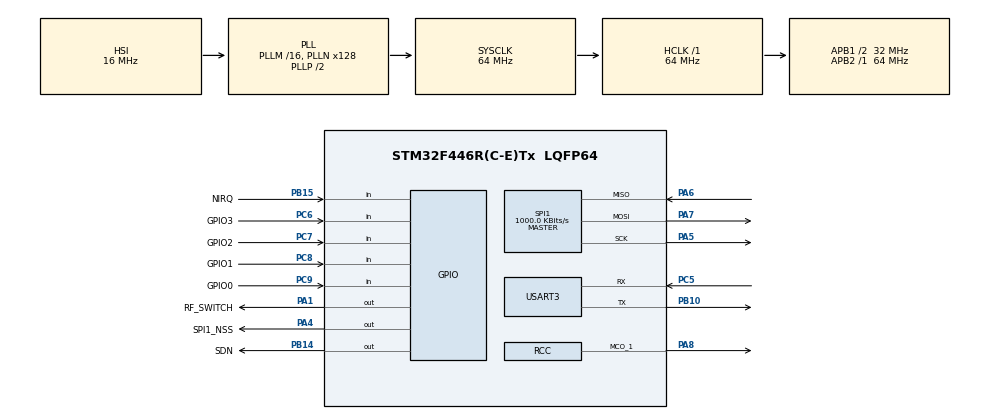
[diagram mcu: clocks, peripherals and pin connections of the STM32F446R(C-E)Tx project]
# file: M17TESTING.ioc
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Mcu.Family=STM32F4
Mcu.Name=STM32F446R(C-E)Tx
Mcu.Package=LQFP64
NVIC.PriorityGroup=NVIC_PRIORITYGROUP_4
NVIC.SPI1_IRQn=true\:0\:0\:false\:false\:true\:true\:true\:true
NVIC.USART3_IRQn=true\:0\:0\:false\:false\:true\:true\:true\:true
PA1.GPIO_Label=RF_SWITCH
PA1.Signal=GPIO_Output
PA13.Mode=Serial_Wire
PA13.Signal=SYS_JTMS-SWDIO
PA14.Mode=Serial_Wire
PA14.Signal=SYS_JTCK-SWCLK
PA4.GPIO_Label=SPI1_NSS
PA4.GPIO_Speed=GPIO_SPEED_FREQ_VERY_HIGH
PA4.PinState=GPIO_PIN_SET
PA4.Signal=GPIO_Output
PA5.Mode=Full_Duplex_Master
PA5.Signal=SPI1_SCK
PA6.Mode=Full_Duplex_Master
PA6.Signal=SPI1_MISO
PA7.Mode=Full_Duplex_Master
PA7.Signal=SPI1_MOSI
PA8.Mode=Clock-out-1
PA8.Signal=RCC_MCO_1
PB10.Mode=Asynchronous
PB10.Signal=USART3_TX
PB14.GPIO_Label=SDN
PB14.Signal=GPIO_Output
PB15.GPIO_Label=NIRQ
PB15.Signal=GPIO_Input
PC14-OSC32_IN.Mode=LSE-External-Oscillator
PC14-OSC32_IN.Signal=RCC_OSC32_IN
PC15-OSC32_OUT.Mode=LSE-External-Oscillator
PC15-OSC32_OUT.Signal=RCC_OSC32_OUT
PC5.Mode=Asynchronous
PC5.Signal=USART3_RX
PC6.GPIO_Label=GPIO3
PC6.Signal=GPIO_Input
PC7.GPIO_Label=GPIO2
PC7.Signal=GPIO_Input
PC8.GPIO_Label=GPIO1
PC8.Signal=GPIO_Input
PC9.GPIO_Label=GPIO0
PC9.Signal=GPIO_Input
PH0-OSC_IN.Mode=HSE-External-Oscillator
PH0-OSC_IN.Signal=RCC_OSC_IN
PH1-OSC_OUT.Mode=HSE-External-Oscillator
PH1-OSC_OUT.Signal=RCC_OSC_OUT
ProjectManager.HeapSize=0x200
ProjectManager.StackSize=0x400
ProjectManager.TargetToolchain=STM32CubeIDE
RCC.AHBFreq_Value=64000000
RCC.APB1CLKDivider=RCC_HCLK_DIV2
RCC.APB1Freq_Value=32000000
RCC.APB1TimFreq_Value=64000000
RCC.APB2Freq_Value=64000000
RCC.APB2TimFreq_Value=64000000
RCC.CortexFreq_Value=64000000
RCC.HCLKFreq_Value=64000000
RCC.PLLN=128
RCC.SYSCLKFreq_VALUE=64000000
RCC.SYSCLKSource=RCC_SYSCLKSOURCE_PLLCLK
RCC.USBFreq_Value=64000000
RCC.VCOOutputFreq_Value=128000000
SPI1.BaudRatePrescaler=SPI_BAUDRATEPRESCALER_64
SPI1.CalculateBaudRate=1000.0 KBits/s
SPI1.Direction=SPI_DIRECTION_2LINES
SPI1.Mode=SPI_MODE_MASTER
SPI1.VirtualType=VM_MASTER
USART3.VirtualMode=VM_ASYNC
board=custom

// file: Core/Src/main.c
/* USER CODE BEGIN Header */
/**
 ******************************************************************************
 * @file           : main.c
 * @brief          : SI4463 Packet Beacon over UART3 — CORRECTED
 *
 * Pin mapping (from main.h):
 *   SPI1 SCK  → PA5   (CubeMX default SPI1)
 *   SPI1 MISO → PA6
 *   SPI1 MOSI → PA7
 *   SI_NSS    → PA4   (software CS, defined in main.h)
 *   RF_SWITCH → PA1   (output; HIGH = TX mode, LOW = RX/idle)
 *   SDN       → PB14  (SDN_Pin / SDN_GPIO_Port)
 *   NIRQ      → PB15  (NIRQ_Pin / NIRQ_GPIO_Port) — input, falling edge
 *   UART3 TX  → PB10  (115200 8N1)
 *
 * NOTE: radio_config.h (RADIO_CONFIGURATION_DATA_ARRAY) is left untouched.
 * That config sets RADIO_STATE_AFTER_POWER_UP so the SI4463 comes up in
 * READY after SI4463_Init() loads the array. This firmware builds and
 * transmits the "Hello HAMS" packet on its own via APP_TransmitPacket().
 *
 * Per RF_FRR_CTL_A_MODE_4 in radio_config.h, the FRR slots are mapped:
 *   FRR_A (property 0x03) → PH_PEND    (Packet Handler Interrupt Pending)
 *   FRR_B (property 0x07) → CHIP_PEND  (Chip Interrupt Pending)
 *   FRR_C (property 0x0A) → LATCHED_RSSI
 *   FRR_D (property 0x00) → DISABLED (reads back 0x00, ignore)
 *
 * ----------------------------------------------------------------------
 * FIX HISTORY
 *
 * 1) RF_SWITCH was never driven HIGH before transmission in the earlier
 *    continuous-TX revision of this firmware — it was set LOW once in
 *    MX_GPIO_Init() and never touched again, so the external antenna
 *    switch stayed parked on the RX/idle leg for the whole run even
 *    though the SI4463 itself was correctly entering TX. Fixed by
 *    driving RF_SWITCH HIGH in APP_StartTX() before START_TX is issued,
 *    and back LOW on completion / error / timeout, in every exit path
 *    of APP_WaitPacketSent() and APP_TransmitPacket().
 *
 * 2) APP_WaitPacketSent() was reading the wrong bytes out of the
 *    GET_INT_STATUS (0x20) response. Per AN633 Table 4 / the Si4463 API,
 *    the actual response layout is:
 *
 *      response[0] = INT_PEND
 *      response[1] = INT_STATUS
 *      response[2] = PH_PEND      <- PACKET_SENT is bit 5 here
 *      response[3] = PH_STATUS
 *      response[4] = MODEM_PEND
 *      response[5] = MODEM_STATUS
 *      response[6] = CHIP_PEND    <- CMD_ERROR is bit 3 here
 *      response[7] = CHIP_STATUS
 *
 *    The earlier code checked response[0] for PACKET_SENT (wrong
 *    register) and treated response[6] as a fabricated "CMD_ERR_STATUS"
 *    field that doesn't exist in this response (it only exists in the
 *    response to GET_CHIP_STATUS, command 0x23). CHIP_PEND bit 4
 *    (STATE_CHANGE) fires on essentially every TX-complete transition,
 *    so the old code aborted the wait loop on a false "radio error" and
 *    then timed out waiting on a PACKET_SENT bit that was never going
 *    to be set in that byte.
 *
 * 3) Command ordering in APP_StartTX() reordered to match AN633
 *    Figure 15 (SPI Communications Example): FIFO_INFO reset → clear
 *    all pending interrupts → WRITE_TX_FIFO → START_TX. Functionally
 *    equivalent to the previous order, kept for direct traceability
 *    against the app note's captured reference transaction.
 *
 * 4) The AN633 §10.1-style carrier-hold diagnostic (forces txState
 *    directly via CHANGE_STATE, bypassing the packet handler, so a
 *    multimeter/SDR has an easy continuous window to catch the
 *    carrier) is now gated behind APP_RUN_CARRIER_HOLD_TEST so it only
 *    runs when you explicitly want it, instead of on every power-up.
 * ----------------------------------------------------------------------
 ******************************************************************************
 */
/* USER CODE END Header */

#include "main.h"

/* USER CODE BEGIN Includes */
#include "si4463.h"
#include "radio_config.h"
#include <stdio.h>
#include <string.h>
#include <stdarg.h>
#include <stdbool.h>
/* USER CODE END Includes */

/* USER CODE BEGIN PTD */
/*
 * Dummy satellite-health telemetry frame. Packed, fixed layout, sent as
 * raw bytes over the SI4463 in place of a plain ASCII payload. All
 * field values are simulated (see APP_BuildDummyTelemetry()) -- this is
 * a placeholder structure/format for exercising the RF link with a
 * realistic-looking beacon frame, not real sensor data.
 *
 * Size is fixed at compile time (sizeof(SatTelemetry_t), currently 26
 * bytes) and must stay <= SI4463_MAX_TX_FIFO_LEN (64 bytes, si4463.h).
 */
typedef struct __attribute__((packed))
{
    char     callsign[8];       /* Station ID, NUL-padded (e.g. "VU3LTQ") */
    uint32_t uptimeSeconds;     /* Seconds since MCU boot */
    uint16_t batteryVoltage_mV; /* Battery bus voltage, millivolts */
    int16_t  batteryCurrent_mA; /* Battery current, mA (+ = charging) */
    int16_t  temperature_dC;    /* Onboard temperature, deci-degC (235 = 23.5C) */
    uint16_t solarVoltage_mV;   /* Solar panel bus voltage, millivolts */
    uint8_t  operatingMode;     /* 0=SAFE 1=NOMINAL 2=SCIENCE 3=LOW_POWER */
    uint8_t  statusFlags;       /* bit0=deployed bit1=sunSide bit2=lowBatt bit3=wdtReset */
    uint16_t telemetryCounter;  /* Rolling telemetry frame counter */
    uint8_t  resetCount;        /* MCU reset count since deployment (dummy) */
    uint8_t  checksum;          /* 8-bit additive checksum over all preceding bytes */
} SatTelemetry_t;
/* USER CODE END PTD */

/* USER CODE BEGIN PD */
/* Set to 1 to run the 5-second carrier-hold diagnostic once at boot
 * (AN633 Section 10.1 equivalent). Leave at 0 for normal beacon
 * operation once the RF path has been confirmed with a meter/SDR. */
#define APP_RUN_CARRIER_HOLD_TEST   0
/* USER CODE END PD */

SPI_HandleTypeDef hspi1;
UART_HandleTypeDef huart3;

/* USER CODE BEGIN PV */
/*
 * SI4463 command constants.
 *
 * Do NOT redefine commands that already exist in si4463.h.
 */
#define APP_CMD_READ_CMD_BUFF       0x44u
#define APP_CMD_FIFO_INFO           0x15u
#define APP_CMD_GET_INT_STATUS      0x20u
#define APP_CMD_WRITE_TX_FIFO       0x66u
#define APP_CMD_START_TX            0x31u

/* FIFO_INFO argument. Bit1 = TX FIFO reset, Bit0 = RX FIFO reset
 * (Si4463 API command encoding). */
#define APP_FIFO_CLEAR_TX           0x02u

/* START_TX CONDITION byte: TXCOMPLETE_STATE occupies bits [6:4] and is
 * encoded as (next_state_enum_value << 4). Using the same state values
 * as si4463_state_t (readyState = 3) so the radio returns cleanly to
 * READY once the packet is out, rather than leaving the next-state
 * field at 0 ("no change" / undefined for this transition). */
#define APP_START_TX_STATE_READY    (0x03u << 4)   /* -> 0x30 */

/* PH_PEND bit 5 = PACKET_SENT */
#define APP_PH_PEND_PACKET_SENT     0x20u
/* CHIP_PEND bit 3 = CMD_ERROR */
#define APP_CHIP_PEND_CMD_ERROR     0x08u

#define TX_PAYLOAD                  "Hello HAMS, this is VU3LTQ operating from KJSIT! 73!!"
#define TX_PAYLOAD_LEN               ((uint8_t)(sizeof(TX_PAYLOAD) - 1u))
#define TX_INTERVAL_MS               5000u
#define TX_TIMEOUT_MS                1000u

/* Dummy satellite operating modes for SatTelemetry_t.operatingMode. */
#define APP_SAT_MODE_SAFE           0u
#define APP_SAT_MODE_NOMINAL        1u
#define APP_SAT_MODE_SCIENCE        2u
#define APP_SAT_MODE_LOW_POWER      3u

/* Dummy satellite status bits for SatTelemetry_t.statusFlags. */
#define APP_SAT_FLAG_DEPLOYED       (1u << 0)
#define APP_SAT_FLAG_SUN_SIDE       (1u << 1)
#define APP_SAT_FLAG_LOW_BATTERY    (1u << 2)
#define APP_SAT_FLAG_WDT_RESET      (1u << 3)

_Static_assert(sizeof(SatTelemetry_t) <= SI4463_MAX_TX_FIFO_LEN,
               "SatTelemetry_t must fit in the 64-byte SI4463 TX FIFO");

static uint32_t packetCounter = 0u;
static char uartBuffer[256];

si4463_t si4463;
/* USER CODE END PV */

void SystemClock_Config(void);
static void MX_GPIO_Init(void);
static void MX_SPI1_Init(void);
static void MX_USART3_UART_Init(void);

/* USER CODE BEGIN PFP */
/* UART */
static void UART_Print(const char *fmt, ...);

/* SPI / SI4463 hardware interface */
static uint8_t APP_IsCTS(void);
static void APP_WriteRead(const uint8_t *pTxData, uint8_t *pRxData, uint16_t size);
static void APP_Select(void);
static void APP_Deselect(void);
static void APP_SetShutdown(void);
static void APP_ClearShutdown(void);

/* SI4463 application-level functions */
static bool APP_SendCommand(const uint8_t *cmd, uint8_t cmdLen);
static bool APP_SendCommandResponse(const uint8_t *cmd, uint8_t cmdLen,
                                     uint8_t *response, uint8_t responseLen);
static bool APP_ClearInterrupts(void);
static bool APP_FlushTXFIFO(void);
static bool APP_WriteTXFIFO(const uint8_t *data, uint8_t length);
static bool APP_StartTX(const uint8_t *data, uint8_t length);
static bool APP_WaitPacketSent(uint32_t timeoutMs);
static bool APP_TransmitPacket(const uint8_t *data, uint8_t length);

/* Dummy satellite-health telemetry */
static uint8_t APP_ComputeChecksum(const uint8_t *data, uint8_t length);
static void APP_BuildDummyTelemetry(SatTelemetry_t *tlm, uint32_t seqNum);
static void APP_PrintTelemetry(const SatTelemetry_t *tlm);
#if APP_RUN_CARRIER_HOLD_TEST
static void APP_CarrierHoldTest(uint32_t holdMs);
static void APP_RxCurrentTest(uint32_t holdMs);
static void APP_RealTxBurstTest(uint32_t durationMs);
#endif

/* Diagnostics: confirm the chip is genuinely a Si4463 and that the PA
 * properties actually landed in the radio's property RAM as configured
 * by radio_config.h, rather than being silently rejected/reset. */
static bool APP_ReadPartInfo(void);
static bool APP_ReadPAProperties(void);
static bool APP_ReadModemModType(void);
static bool APP_ReadFreqControl(void);
/* USER CODE END PFP */

/* ========================================================================== */
/* UART                                                                       */
/* ========================================================================== */
static void UART_Print(const char *fmt, ...)
{
    va_list args;
    va_start(args, fmt);
    int length = vsnprintf(uartBuffer, sizeof(uartBuffer), fmt, args);
    va_end(args);

    if (length <= 0)
    {
        return;
    }
    if (length >= (int)sizeof(uartBuffer))
    {
        length = (int)sizeof(uartBuffer) - 1;
    }

    HAL_UART_Transmit(&huart3, (uint8_t *)uartBuffer, (uint16_t)length, 1000);
}

/* ========================================================================== */
/* SI4463 CHIP SELECT                                                         */
/* ========================================================================== */
static void APP_Select(void)
{
    HAL_GPIO_WritePin(SPI1_NSS_GPIO_Port, SPI1_NSS_Pin, GPIO_PIN_RESET);
}

static void APP_Deselect(void)
{
    HAL_GPIO_WritePin(SPI1_NSS_GPIO_Port, SPI1_NSS_Pin, GPIO_PIN_SET);
}

/* ========================================================================== */
/* SI4463 SHUTDOWN                                                            */
/* ========================================================================== */
static void APP_SetShutdown(void)
{
    HAL_GPIO_WritePin(SDN_GPIO_Port, SDN_Pin, GPIO_PIN_SET);
}

static void APP_ClearShutdown(void)
{
    HAL_GPIO_WritePin(SDN_GPIO_Port, SDN_Pin, GPIO_PIN_RESET);
}

/* ========================================================================== */
/* SPI TRANSFER                                                               */
/* ========================================================================== */
static void APP_WriteRead(const uint8_t *pTxData, uint8_t *pRxData, uint16_t size)
{
    static uint8_t dummyTx[260];
    static uint8_t dummyRx[260];

    if (size == 0u)
    {
        return;
    }
    if (size > sizeof(dummyTx))
    {
        size = sizeof(dummyTx);
    }

    if ((pTxData != NULL) && (pRxData != NULL))
    {
        HAL_SPI_TransmitReceive(&hspi1, (uint8_t *)pTxData, pRxData, size, HAL_MAX_DELAY);
    }
    else if (pTxData != NULL)
    {
        HAL_SPI_TransmitReceive(&hspi1, (uint8_t *)pTxData, dummyRx, size, HAL_MAX_DELAY);
    }
    else if (pRxData != NULL)
    {
        memset(dummyTx, 0xFF, size);
        HAL_SPI_TransmitReceive(&hspi1, dummyTx, pRxData, size, HAL_MAX_DELAY);
    }
}

/* ========================================================================== */
/* CTS — AN633 §7.2.1: send 0x44 + 8 clock pulses, CTS returned on 2nd byte  */
/* ========================================================================== */
static uint8_t APP_IsCTS(void)
{
    uint8_t tx[2] = { APP_CMD_READ_CMD_BUFF, 0xFFu };
    uint8_t rx[2] = { 0x00u, 0x00u };

    APP_Select();
    HAL_SPI_TransmitReceive(&hspi1, tx, rx, 2, 100);
    APP_Deselect();

    return (rx[1] == 0xFFu);
}

/* ========================================================================== */
/* SEND COMMAND — AN633 Figure 7                                             */
/* ========================================================================== */
static bool APP_SendCommand(const uint8_t *cmd, uint8_t cmdLen)
{
    uint32_t start;

    if ((cmd == NULL) || (cmdLen == 0u))
    {
        return false;
    }

    start = HAL_GetTick();
    while (!APP_IsCTS())
    {
        if ((HAL_GetTick() - start) >= 500u)
        {
            UART_Print("ERROR: CTS timeout, command=0x%02X\r\n", cmd[0]);
            return false;
        }
        HAL_Delay(1);
    }

    APP_Select();
    APP_WriteRead(cmd, NULL, cmdLen);
    APP_Deselect();

    return true;
}

/* ========================================================================== */
/* SEND COMMAND + RESPONSE — AN633 Figures 9/10: CTS check and response      */
/* retrieval combined into one NSEL-low transaction once CTS == 0xFF.        */
/* ========================================================================== */
static bool APP_SendCommandResponse(const uint8_t *cmd, uint8_t cmdLen,
                                     uint8_t *response, uint8_t responseLen)
{
    uint8_t tx[32];
    uint8_t rx[32];
    uint32_t start;

    if ((cmd == NULL) || (cmdLen == 0u))
    {
        return false;
    }
    if ((response == NULL) || (responseLen == 0u))
    {
        return false;
    }
    if (responseLen > 16u)
    {
        return false;
    }

    if (!APP_SendCommand(cmd, cmdLen))
    {
        return false;
    }

    start = HAL_GetTick();
    while ((HAL_GetTick() - start) < 500u)
    {
        uint16_t transferLength = (uint16_t)responseLen + 2u;

        memset(tx, 0xFF, sizeof(tx));
        memset(rx, 0x00, sizeof(rx));
        tx[0] = APP_CMD_READ_CMD_BUFF;

        APP_Select();
        APP_WriteRead(tx, rx, transferLength);
        APP_Deselect();

        /*
         * rx[0] is the dummy byte.
         * rx[1] is CTS.
         * rx[2...] contains the command response.
         */
        if (rx[1] == 0xFFu)
        {
            memcpy(response, &rx[2], responseLen);
            return true;
        }

        HAL_Delay(1);
    }

    UART_Print("ERROR: command response timeout, command=0x%02X\r\n", cmd[0]);
    return false;
}

/* ========================================================================== */
/* CLEAR INTERRUPTS — GET_INT_STATUS with all-zero clear masks clears every  */
/* pending flag in all three groups (PH, MODEM, CHIP).                       */
/* ========================================================================== */
static bool APP_ClearInterrupts(void)
{
    uint8_t cmd[4] = { APP_CMD_GET_INT_STATUS, 0x00u, 0x00u, 0x00u };
    uint8_t response[8];
    memset(response, 0, sizeof(response));

    return APP_SendCommandResponse(cmd, sizeof(cmd), response, sizeof(response));
}

/* ========================================================================== */
/* FLUSH TX FIFO                                                              */
/* ========================================================================== */
static bool APP_FlushTXFIFO(void)
{
    uint8_t cmd[2] = { APP_CMD_FIFO_INFO, APP_FIFO_CLEAR_TX };

    /* FIFO_INFO returns two response bytes: TX FIFO count and RX FIFO count. */
    uint8_t response[2];
    memset(response, 0, sizeof(response));

    if (!APP_SendCommandResponse(cmd, sizeof(cmd), response, sizeof(response)))
    {
        return false;
    }

    return true;
}

/* ========================================================================== */
/* WRITE TX FIFO — AN633 §7.5 / Figure 13                                    */
/* ========================================================================== */
static bool APP_WriteTXFIFO(const uint8_t *data, uint8_t length)
{
    uint8_t command = APP_CMD_WRITE_TX_FIFO;
    uint32_t start;

    if ((data == NULL) || (length == 0u))
    {
        return false;
    }

    start = HAL_GetTick();
    while (!APP_IsCTS())
    {
        if ((HAL_GetTick() - start) >= 500u)
        {
            UART_Print("ERROR: CTS timeout before TX FIFO write\r\n");
            return false;
        }
        HAL_Delay(1);
    }

    /*
     * NSEL MUST remain LOW for the complete WRITE_TX_FIFO command +
     * payload transaction.
     */
    APP_Select();
    APP_WriteRead(&command, NULL, 1);
    APP_WriteRead(data, NULL, length);
    APP_Deselect();

    return true;
}

/* ========================================================================== */
/* START TX                                                                   */
/*                                                                             */
/* Command / FIFO ordering here matches AN633 Figure 15 (SPI Communications  */
/* Example): FIFO_INFO reset TX FIFO -> clear all pending ITs -> write       */
/* payload into TX FIFO -> issue START_TX.                                   */
/*                                                                             */
/* RF_SWITCH is driven HIGH (TX) here, before START_TX is sent, and is       */
/* always returned LOW on any failure path in this function so the external */
/* antenna switch never gets stuck on the TX leg without an active TX.       */
/* ========================================================================== */
static bool APP_StartTX(const uint8_t *data, uint8_t length)
{
    uint8_t cmd[5];

    if ((data == NULL) || (length == 0u))
    {
        return false;
    }

    /* External RF switch -> TX. HIGH = TX per RF_SWITCH pin contract
     * (see header comment). This is the fix for the earlier revision
     * where RF_SWITCH was only ever set once, at LOW, in MX_GPIO_Init()
     * and never touched again — the SI4463 could be transmitting
     * correctly on-die while the antenna path stayed parked on RX. */
    HAL_GPIO_WritePin(RF_SWITCH_GPIO_Port, RF_SWITCH_Pin, GPIO_PIN_SET);
    HAL_Delay(2);

    /* Reset TX FIFO first, per AN633 Figure 15 ordering. */
    if (!APP_FlushTXFIFO())
    {
        UART_Print("ERROR: TX FIFO flush failed\r\n");
        HAL_GPIO_WritePin(RF_SWITCH_GPIO_Port, RF_SWITCH_Pin, GPIO_PIN_RESET);
        return false;
    }

    /* Clear stale interrupt flags. */
    if (!APP_ClearInterrupts())
    {
        UART_Print("ERROR: GET_INT_STATUS failed\r\n");
        HAL_GPIO_WritePin(RF_SWITCH_GPIO_Port, RF_SWITCH_Pin, GPIO_PIN_RESET);
        return false;
    }

    /* Write payload. */
    if (!APP_WriteTXFIFO(data, length))
    {
        UART_Print("ERROR: TX FIFO write failed\r\n");
        HAL_GPIO_WritePin(RF_SWITCH_GPIO_Port, RF_SWITCH_Pin, GPIO_PIN_RESET);
        return false;
    }

    /*
     * START_TX command:
     *
     * Byte 0 = command
     * Byte 1 = channel
     * Byte 2 = condition (bits[6:4] = TXCOMPLETE_STATE)
     * Byte 3 = TX length MSB (bits [12:8])
     * Byte 4 = TX length LSB (bits [7:0])
     *
     * TXCOMPLETE_STATE is explicitly set to READY so the chip lands in
     * a known state once the packet goes out, instead of leaving the
     * field at 0 (undefined "no change" for this transition).
     */
    cmd[0] = APP_CMD_START_TX;
    cmd[1] = RADIO_CONFIGURATION_DATA_CHANNEL_NUMBER;
    cmd[2] = APP_START_TX_STATE_READY;
    cmd[3] = 0x00u;
    cmd[4] = length;

    UART_Print("START_TX: channel=%u length=%u\r\n", (unsigned int)cmd[1], (unsigned int)length);

    if (!APP_SendCommand(cmd, sizeof(cmd)))
    {
        UART_Print("ERROR: START_TX command failed\r\n");
        HAL_GPIO_WritePin(RF_SWITCH_GPIO_Port, RF_SWITCH_Pin, GPIO_PIN_RESET);
        return false;
    }

    /* Give the radio state machine time to enter TX. */
    HAL_Delay(2);

    UART_Print("GPIO0=%d GPIO1=%d\r\n",
               (int)HAL_GPIO_ReadPin(GPIO0_GPIO_Port, GPIO0_Pin),
               (int)HAL_GPIO_ReadPin(GPIO1_GPIO_Port, GPIO1_Pin));

    return true;
}

/* ========================================================================== */
/* WAIT PACKET SENT                                                           */
/*                                                                             */
/* GET_INT_STATUS response layout (AN633 Table 4 / Si4463 API):              */
/*   response[0] = INT_PEND                                                  */
/*   response[1] = INT_STATUS                                                */
/*   response[2] = PH_PEND      <- PACKET_SENT is bit 5 here                 */
/*   response[3] = PH_STATUS                                                 */
/*   response[4] = MODEM_PEND                                                */
/*   response[5] = MODEM_STATUS                                              */
/*   response[6] = CHIP_PEND    <- CMD_ERROR is bit 3 here                   */
/*   response[7] = CHIP_STATUS                                               */
/* ========================================================================== */
static bool APP_WaitPacketSent(uint32_t timeoutMs)
{
    uint32_t start = HAL_GetTick();

    while ((HAL_GetTick() - start) < timeoutMs)
    {
        uint8_t cmd[4] = { APP_CMD_GET_INT_STATUS, 0x00u, 0x00u, 0x00u };
        uint8_t response[8];
        memset(response, 0, sizeof(response));

        if (APP_SendCommandResponse(cmd, sizeof(cmd), response, sizeof(response)))
        {
            if ((response[2] & APP_PH_PEND_PACKET_SENT) != 0u)
            {
                UART_Print("PACKET_SENT: PH_PEND=0x%02X\r\n", response[2]);

                /* Return RF switch to idle/RX. */
                HAL_GPIO_WritePin(RF_SWITCH_GPIO_Port, RF_SWITCH_Pin, GPIO_PIN_RESET);
                return true;
            }

            /*
             * Only a genuine CMD_ERROR bit in CHIP_PEND means something
             * actually went wrong. STATE_CHANGE (bit 4) fires routinely
             * as the radio transitions TX_TUNE -> TX -> READY and must
             * NOT be treated as an error.
             */
            if ((response[6] & APP_CHIP_PEND_CMD_ERROR) != 0u)
            {
                UART_Print("RADIO CMD ERROR: CHIP_PEND=0x%02X\r\n", response[6]);
                break;
            }
        }

        HAL_Delay(2);
    }

    HAL_GPIO_WritePin(RF_SWITCH_GPIO_Port, RF_SWITCH_Pin, GPIO_PIN_RESET);
    UART_Print("ERROR: PACKET_SENT timeout\r\n");
    return false;
}

/* ========================================================================== */
/* TRANSMIT PACKET                                                            */
/* ========================================================================== */
static bool APP_TransmitPacket(const uint8_t *data, uint8_t length)
{
    if ((data == NULL) || (length == 0u))
    {
        return false;
    }

    if (length > 64u)
    {
        UART_Print("ERROR: payload too large: %u bytes\r\n", (unsigned int)length);
        return false;
    }

    if (!APP_StartTX(data, length))
    {
        HAL_GPIO_WritePin(RF_SWITCH_GPIO_Port, RF_SWITCH_Pin, GPIO_PIN_RESET);
        return false;
    }

    if (!APP_WaitPacketSent(TX_TIMEOUT_MS))
    {
        return false;
    }

    return true;
}

/* ========================================================================== */
/* DUMMY SATELLITE-HEALTH TELEMETRY                                          */
/* ========================================================================== */
/*
 * Simple 8-bit additive checksum over `length` bytes starting at `data`.
 * Not a substitute for the SI4463's own hardware CRC on the air
 * interface -- this is an application-layer field so a receiver can
 * sanity-check the decoded struct itself after CRC-valid reception.
 */
static uint8_t APP_ComputeChecksum(const uint8_t *data, uint8_t length)
{
    uint8_t sum = 0u;

    for (uint8_t i = 0; i < length; i++)
    {
        sum = (uint8_t)(sum + data[i]);
    }

    return sum;
}

/*
 * Fills tlm with simulated "satellite health" values. There is no real
 * sensor data behind any of this -- every field is a deterministic
 * function of seqNum and HAL_GetTick() so successive telemetry frames
 * look plausibly alive (battery drifting, temperature drifting, etc.)
 * for exercising the RF link and a receiver-side decoder.
 */
static void APP_BuildDummyTelemetry(SatTelemetry_t *tlm, uint32_t seqNum)
{
    memset(tlm, 0, sizeof(*tlm));

    memcpy(tlm->callsign, "VU3LTQ", 6u);

    tlm->uptimeSeconds = HAL_GetTick() / 1000u;

    /* Battery voltage dummy-wanders between ~7.2V and ~8.0V. */
    tlm->batteryVoltage_mV = (uint16_t)(7200u + (seqNum * 37u) % 800u);

    /* Current alternates sign to simulate charge/discharge cycles. */
    tlm->batteryCurrent_mA = (int16_t)(((seqNum % 2u) ? 1 : -1)
                                        * (int16_t)(150 + (seqNum * 7u) % 250u));

    /* Temperature dummy-wanders between -5.0C and +25.0C. */
    tlm->temperature_dC = (int16_t)(-50 + (int16_t)((seqNum * 11u) % 300u));

    /* Solar bus voltage dummy-wanders between 0V (eclipse) and ~9V (sun). */
    tlm->solarVoltage_mV = (uint16_t)((seqNum % 3u) ? (6000u + (seqNum * 53u) % 3000u) : 0u);

    tlm->operatingMode = (uint8_t)(tlm->solarVoltage_mV == 0u
                                    ? APP_SAT_MODE_LOW_POWER
                                    : APP_SAT_MODE_NOMINAL);

    tlm->statusFlags = APP_SAT_FLAG_DEPLOYED;
    if (tlm->solarVoltage_mV > 0u)
    {
        tlm->statusFlags |= APP_SAT_FLAG_SUN_SIDE;
    }
    if (tlm->batteryVoltage_mV < 7400u)
    {
        tlm->statusFlags |= APP_SAT_FLAG_LOW_BATTERY;
    }

    tlm->telemetryCounter = (uint16_t)seqNum;
    tlm->resetCount = 0u;

    tlm->checksum = APP_ComputeChecksum((const uint8_t *)tlm,
                                         (uint8_t)(sizeof(*tlm) - 1u));
}

static void APP_PrintTelemetry(const SatTelemetry_t *tlm)
{
    char callsignBuf[sizeof(tlm->callsign) + 1u];
    memcpy(callsignBuf, tlm->callsign, sizeof(tlm->callsign));
    callsignBuf[sizeof(tlm->callsign)] = '\0';

    UART_Print("Telemetry #%u: callsign=%s uptime=%lus battV=%umV battI=%dmA "
               "temp=%d.%01dC solarV=%umV mode=%u flags=0x%02X chk=0x%02X\r\n",
               (unsigned int)tlm->telemetryCounter, callsignBuf,
               (unsigned long)tlm->uptimeSeconds,
               (unsigned int)tlm->batteryVoltage_mV,
               (int)tlm->batteryCurrent_mA,
               (int)(tlm->temperature_dC / 10),
               (int)((tlm->temperature_dC < 0 ? -tlm->temperature_dC : tlm->temperature_dC) % 10),
               (unsigned int)tlm->solarVoltage_mV,
               (unsigned int)tlm->operatingMode,
               (unsigned int)tlm->statusFlags,
               (unsigned int)tlm->checksum);
}

#if APP_RUN_CARRIER_HOLD_TEST
/* ========================================================================== */
/* CARRIER HOLD TEST (diagnostic only, AN633 Section 10.1)                   */
/* ========================================================================== */
/*
 * Forces the radio directly into txState (see si4463_state_t in si4463.h,
 * txState = 7) via CHANGE_STATE, bypassing START_TX / the packet handler
 * entirely. Per AN633 Figure 16, once in txState the PA stays on and draws
 * ~18 mA continuously (vs. the ~10-30 ms burst a single packet produces),
 * and the carrier will sit at your configured 435 MHz continuously.
 *
 * This isolates "is the RF chain / antenna / PA actually working" from
 * "is my packet timing too short to observe" - if you see 18 mA on your
 * meter and a solid line at 435.000 MHz in SDR++ during this hold, the
 * hardware path is fine and TX #n: SUCCESS in the beacon loop is real;
 * the packets are just too short-duty-cycle to catch by eye.
 *
 * If you see NOTHING here either, the problem is upstream of packet
 * timing - check PA_PWR_LVL/PA_MODE (RF_PA_MODE_4 in radio_config.h),
 * the RF_SWITCH GPIO polarity/wiring to the external antenna switch,
 * and the SMA/antenna connection itself.
 */
static void APP_CarrierHoldTest(uint32_t holdMs)
{
    UART_Print("\r\n=== CARRIER HOLD TEST: forcing txState for %lu ms ===\r\n",
               (unsigned long)holdMs);

    HAL_GPIO_WritePin(RF_SWITCH_GPIO_Port, RF_SWITCH_Pin, GPIO_PIN_SET);
    HAL_Delay(2);

    /* txState = 7 in si4463_state_t (si4463.h) */
    if (SI4463_SetCurrentState(&si4463, txState) != SI4463_OK)
    {
        UART_Print("WARNING: CHANGE_STATE to txState did not verify cleanly "
                   "(driver still issued the command - check meter/SDR now)\r\n");
    }

    UART_Print("Radio should now be parked in TX. Check multimeter (~18 mA) "
               "and SDR++ at 435.000 MHz now.\r\n");

    /* Poll GET_CHIP_STATUS / GET_INT_STATUS a couple of times during the
     * hold to see if the chip itself is flagging LOW_BATT (supply sag
     * under the PA's current draw) or a CMD_ERROR while parked in TX. */
    for (uint8_t i = 0; i < 3u; i++)
    {
        HAL_Delay(holdMs / 3u);

        if (SI4463_GetInterrupts(&si4463) == SI4463_OK)
        {
            UART_Print("  TX hold chip status: lowBatt=%d cmdError=%d "
                       "cal=%d fifoErr=%d\r\n",
                       (int)si4463.interrupts.lowBatt,
                       (int)si4463.interrupts.cmdError,
                       (int)si4463.interrupts.cal,
                       (int)si4463.interrupts.fifoUnderflowOverflowError);
        }
        else
        {
            UART_Print("  TX hold chip status: GET_INT_STATUS read failed\r\n");
        }
    }

    SI4463_SetCurrentState(&si4463, readyState);
    HAL_GPIO_WritePin(RF_SWITCH_GPIO_Port, RF_SWITCH_Pin, GPIO_PIN_RESET);

    UART_Print("=== CARRIER HOLD TEST DONE, back to READY ===\r\n\r\n");
}

/* ========================================================================== */
/* RX CURRENT TEST (diagnostic only)                                         */
/* ========================================================================== */
/*
 * Companion to APP_CarrierHoldTest(). Forces the radio directly into
 * rxState via CHANGE_STATE for holdMs. RX, like TX, requires the
 * synthesizer to be locked (for down-conversion), and has a
 * well-characterized current draw (~11 mA typical for the Si4463 in RX,
 * per the datasheet, vs. ~1.5 uA in standby / a few hundred uA in READY).
 *
 * Run this alongside APP_CarrierHoldTest() to distinguish two different
 * root causes for "no current bump / no signal during TX carrier hold":
 *
 *   - If RX ALSO shows no current increase over the READY baseline, the
 *     crystal/synthesizer most likely never locks at all (both RX and TX
 *     depend on it equally) -- check the XTAL itself, its load
 *     capacitors, and GLOBAL_XO_TUNE_2 in radio_config.h against the
 *     actual crystal fitted on this board.
 *
 *   - If RX DOES show the expected current bump but TX does not, the
 *     synthesizer/crystal is fine and the fault is specific to the PA /
 *     TX output path (PA bias, matching network, or a damaged TX pin).
 */
static void APP_RxCurrentTest(uint32_t holdMs)
{
    UART_Print("\r\n=== RX CURRENT TEST: forcing rxState for %lu ms ===\r\n",
               (unsigned long)holdMs);

    /* RF_SWITCH stays LOW here -- LOW is the RX/idle leg per this board's
     * contract (see header comment at the top of this file). */
    HAL_GPIO_WritePin(RF_SWITCH_GPIO_Port, RF_SWITCH_Pin, GPIO_PIN_RESET);
    HAL_Delay(2);

    /* rxState = 8 in si4463_state_t (si4463.h) */
    if (SI4463_SetCurrentState(&si4463, rxState) != SI4463_OK)
    {
        UART_Print("WARNING: CHANGE_STATE to rxState did not verify cleanly "
                   "(driver still issued the command - check meter now)\r\n");
    }

    UART_Print("Radio should now be parked in RX. Check multimeter (~11 mA "
               "typical) now.\r\n");

    HAL_Delay(holdMs);

    SI4463_SetCurrentState(&si4463, readyState);

    UART_Print("=== RX CURRENT TEST DONE, back to READY ===\r\n"
               "Compare this reading against the TX carrier-hold test above:\r\n"
               "  - Neither shows a bump  -> crystal/synthesizer likely never\r\n"
               "    locks. Check XTAL, its load caps, and GLOBAL_XO_TUNE_2.\r\n"
               "  - RX bumps but TX doesn't -> fault is specific to the PA /\r\n"
               "    TX output path, not the crystal.\r\n\r\n");
}

/* ========================================================================== */
/* REAL TX BURST TEST (diagnostic only)                                      */
/* ========================================================================== */
/*
 * The raw CHANGE_STATE carrier-hold test above bypasses the packet
 * handler entirely, which starves the TX FIFO and reliably raises
 * FIFO_UNDERFLOW (visible as fifoErr=1 in the TX hold chip-status log).
 * Since radio_config.h has the packet handler enabled (not raw/direct
 * TX mode), the chip does not fully key the PA against an empty/garbage
 * FIFO, so a low current reading during that specific test does NOT by
 * itself prove a broken PA -- it may just be a diagnostic-method
 * artifact.
 *
 * This test instead fires real, properly-framed packets (the exact same
 * APP_TransmitPacket() path used by the beacon loop -- FIFO_INFO reset,
 * WRITE_TX_FIFO, START_TX, wait for PACKET_SENT) back-to-back for
 * durationMs with effectively no gap between them. A single "Hello HAMS"
 * packet only lasts a few ms, too short to reliably catch on a handheld
 * meter or an SDR without persistence/hold enabled -- running dozens of
 * them back-to-back raises the average duty cycle enough to actually
 * see on a meter, and gives an SDR waterfall with hold/max-hold enabled
 * a much better chance of showing repeated bursts at the configured
 * frequency.
 */
static void APP_RealTxBurstTest(uint32_t durationMs)
{
    uint32_t start = HAL_GetTick();
    uint32_t sent = 0;
    uint32_t failed = 0;

    UART_Print("\r\n=== REAL TX BURST TEST: sending framed packets back-to-back "
               "for %lu ms ===\r\n", (unsigned long)durationMs);
    UART_Print("Watch meter (average current) and SDR waterfall (with "
               "hold/max-hold) at 435.000 MHz now.\r\n");

    while ((HAL_GetTick() - start) < durationMs)
    {
        if (APP_TransmitPacket((const uint8_t *)TX_PAYLOAD, TX_PAYLOAD_LEN))
        {
            sent++;
        }
        else
        {
            failed++;
        }
    }

    UART_Print("=== REAL TX BURST TEST DONE: %lu sent OK, %lu failed ===\r\n\r\n",
               (unsigned long)sent, (unsigned long)failed);
}
#endif /* APP_RUN_CARRIER_HOLD_TEST */

/* ========================================================================== */
/* PART_INFO — AN633 Table 4, command 0x01                                   */
/*                                                                             */
/* Response (8 bytes): CHIPREV, PART[1], PART[0], PBUILD, ID[1], ID[0],      */
/* CUSTOMER, ROMID.                                                          */
/*                                                                             */
/* PART should read back as 0x4463. If it reads 0x0000, all-0xFF, or         */
/* anything else, the SPI link to the chip itself is suspect (bad solder     */
/* joint, wrong VDD, dead part, wrong NSS/SCK/MISO/MOSI mapping) — that      */
/* would explain full-scale current staying flat regardless of what         */
/* commands you send, since the chip may not be receiving them at all.      */
/* ========================================================================== */
static bool APP_ReadPartInfo(void)
{
    uint8_t cmd[1] = { 0x01u }; /* PART_INFO */
    uint8_t response[8];
    memset(response, 0, sizeof(response));

    if (!APP_SendCommandResponse(cmd, sizeof(cmd), response, sizeof(response)))
    {
        UART_Print("ERROR: PART_INFO read failed\r\n");
        return false;
    }

    uint16_t part = ((uint16_t)response[1] << 8) | response[2];
    UART_Print("PART_INFO: CHIPREV=0x%02X PART=0x%04X PBUILD=0x%02X "
               "ID=0x%02X%02X CUSTOMER=0x%02X ROMID=0x%02X\r\n",
               response[0], part, response[3], response[4], response[5],
               response[6], response[7]);

    if (part != 0x4463u)
    {
        UART_Print("WARNING: expected PART=0x4463, got 0x%04X — check SPI "
                   "wiring, VDD, and that the part is genuinely a Si4463\r\n",
                   part);
    }

    return true;
}

/* ========================================================================== */
/* GET_PROPERTY on the PA group (0x22, start 0x00, 4 props) — AN633 Table 4, */
/* command 0x12.                                                             */
/*                                                                             */
/* Reads back PA_MODE, PA_PWR_LVL, PA_BIAS_CLKDUTY, PA_TC as they currently  */
/* sit in the radio's property RAM. If these don't match radio_config.h's    */
/* RF_PA_MODE_4 values (0x08, 0x7F, 0x00, 0x1D), the SET_PROPERTY calls      */
/* during SI4463_Init() didn't take — which would explain low output power  */
/* even though the chip is otherwise responding fine on SPI (e.g. CTS       */
/* works, PART_INFO reads correctly).                                       */
/* ========================================================================== */
static bool APP_ReadPAProperties(void)
{
    /* GET_PROPERTY command: cmd, GROUP, NUM_PROPS, START_PROP */
    uint8_t cmd[4] = { 0x12u, 0x22u, 0x04u, 0x00u };
    uint8_t response[4];
    memset(response, 0, sizeof(response));

    if (!APP_SendCommandResponse(cmd, sizeof(cmd), response, sizeof(response)))
    {
        UART_Print("ERROR: GET_PROPERTY (PA group) read failed\r\n");
        return false;
    }

    UART_Print("PA properties: PA_MODE=0x%02X PA_PWR_LVL=0x%02X "
               "PA_BIAS_CLKDUTY=0x%02X PA_TC=0x%02X "
               "(radio_config.h expects 0x08 0x7F 0x00 0x1D)\r\n",
               response[0], response[1], response[2], response[3]);

    if ((response[0] != 0x08u) || (response[1] != 0x7Fu))
    {
        UART_Print("WARNING: PA properties don't match radio_config.h — "
                   "configuration did not take\r\n");
    }

    return true;
}

/* ========================================================================== */
/* GET_PROPERTY on MODEM_MOD_TYPE (group 0x20, prop 0x00) — confirms the     */
/* MOD_TYPE fix (0x03 2GFSK -> 0x05 4GFSK, radio_config.h) actually landed   */
/* in the chip's property RAM rather than being silently ignored/reset.      */
/* ========================================================================== */
static bool APP_ReadModemModType(void)
{
    uint8_t cmd[4] = { 0x12u, 0x20u, 0x01u, 0x00u };
    uint8_t response[1];
    memset(response, 0, sizeof(response));

    if (!APP_SendCommandResponse(cmd, sizeof(cmd), response, sizeof(response)))
    {
        UART_Print("ERROR: GET_PROPERTY (MODEM_MOD_TYPE) read failed\r\n");
        return false;
    }

    UART_Print("MOD_TYPE=0x%02X (expect 0x05 = 4GFSK; 0x03 would be stale "
               "2GFSK)\r\n", response[0]);

    if (response[0] != 0x05u)
    {
        UART_Print("WARNING: MOD_TYPE does not read back as 4GFSK — "
                   "configuration did not take\r\n");
    }

    return true;
}

/* ========================================================================== */
/* GET_PROPERTY on FREQ_CONTROL (group 0x40, props 0x00-0x03: INTE, FRAC2,   */
/* FRAC1, FRAC0) — radio_config.h's RADIO_CONFIGURATION_DATA_ARRAY sends     */
/* RF_FREQ_CONTROL_INTE_8 and then RF_FREQ_CONTROL_INTE_8_1 to this SAME     */
/* property address; the second one wins on real hardware and the two       */
/* macros carry DIFFERENT INTE/FRAC values, so the chip's actual TX/RX      */
/* carrier frequency is NOT necessarily whatever any comment elsewhere in   */
/* this codebase (e.g. "435.000 MHz") assumes. This reads back what's       */
/* actually active so that can be confirmed instead of guessed.             */
/* ========================================================================== */
static bool APP_ReadFreqControl(void)
{
    uint8_t cmd[4] = { 0x12u, 0x40u, 0x04u, 0x00u };
    uint8_t response[4];
    memset(response, 0, sizeof(response));

    if (!APP_SendCommandResponse(cmd, sizeof(cmd), response, sizeof(response)))
    {
        UART_Print("ERROR: GET_PROPERTY (FREQ_CONTROL) read failed\r\n");
        return false;
    }

    UART_Print("FREQ_CONTROL: INTE=0x%02X FRAC=0x%02X%02X%02X "
               "(block1/RF_FREQ_CONTROL_INTE_8 expects INTE=0x37 FRAC=0x090000, "
               "block2/RF_FREQ_CONTROL_INTE_8_1 expects INTE=0x39 FRAC=0x080000 "
               "-- block2 should win)\r\n",
               response[0], response[1], response[2], response[3]);

    return true;
}
/* USER CODE END 0 */

int main(void)
{

    HAL_Init();

    SystemClock_Config();

    MX_GPIO_Init();
    MX_SPI1_Init();
    MX_USART3_UART_Init();

    /* USER CODE BEGIN 2 */
    si4463.IsClearToSend = APP_IsCTS;
    si4463.WriteRead     = APP_WriteRead;
    si4463.Select        = APP_Select;
    si4463.Deselect      = APP_Deselect;
    si4463.SetShutdown   = APP_SetShutdown;
    si4463.ClearShutdown = APP_ClearShutdown;
    si4463.DelayMs       = HAL_Delay;

    UART_Print("\r\n       SI4463 4FSK PACKET BEACON\r\n");
    UART_Print("Frame   : SatTelemetry_t (dummy satellite health)\r\n");
    UART_Print("Length  : %u bytes\r\n", (unsigned int)sizeof(SatTelemetry_t));
    UART_Print("Interval: %lu ms\r\n", (unsigned long)TX_INTERVAL_MS);
    UART_Print("Initializing SI4463...\r\n");

    HAL_NVIC_DisableIRQ(EXTI15_10_IRQn);

    int8_t result = SI4463_Init(&si4463);
    UART_Print("SI4463 Init: %s\r\n", (result == SI4463_OK) ? "OK" : "FAIL");

    if (result != SI4463_OK)
    {
        UART_Print("FATAL: SI4463 initialization failed\r\n");
        while (1)
        {
            HAL_Delay(1000);
        }
    }

    if (SI4463_ClearInterrupts(&si4463) != SI4463_OK)
    {
        UART_Print("WARNING: initial interrupt clear failed\r\n");
    }

    HAL_NVIC_EnableIRQ(EXTI15_10_IRQn);

    /* RF switch starts in idle/RX state. */
    HAL_GPIO_WritePin(RF_SWITCH_GPIO_Port, RF_SWITCH_Pin, GPIO_PIN_RESET);

    UART_Print("SI4463 initialized successfully\r\n");
    UART_Print("Beacon ready\r\n");

    /* Diagnostics for the "carrier hold current stays low" symptom:
     * confirm the chip identifies itself correctly and that the PA
     * properties actually made it into the radio's property RAM. */
    APP_ReadPartInfo();
    APP_ReadPAProperties();
    APP_ReadModemModType();
    APP_ReadFreqControl();

#if APP_RUN_CARRIER_HOLD_TEST
    APP_CarrierHoldTest(5000u);
    APP_RxCurrentTest(5000u);
    APP_RealTxBurstTest(5000u);
#endif
    /* USER CODE END 2 */

    /* Infinite loop */
    while (1)
    {
        bool txOK;
        SatTelemetry_t telemetry;

        packetCounter++;

        APP_BuildDummyTelemetry(&telemetry, packetCounter);

        UART_Print("\r\n----------------------------------------\r\n");
        UART_Print("TX #%lu\r\n", (unsigned long)packetCounter);
        APP_PrintTelemetry(&telemetry);

        txOK = APP_TransmitPacket((const uint8_t *)&telemetry, (uint8_t)sizeof(telemetry));

        if (txOK)
        {
            UART_Print("TX #%lu: SUCCESS\r\n", (unsigned long)packetCounter);
        }
        else
        {
            UART_Print("TX #%lu: FAILED\r\n", (unsigned long)packetCounter);
        }

        UART_Print("GPIO0=%d GPIO1=%d RF_SWITCH=%d\r\n",
                   (int)HAL_GPIO_ReadPin(GPIO0_GPIO_Port, GPIO0_Pin),
                   (int)HAL_GPIO_ReadPin(GPIO1_GPIO_Port, GPIO1_Pin),
                   (int)HAL_GPIO_ReadPin(RF_SWITCH_GPIO_Port, RF_SWITCH_Pin));

        HAL_Delay(TX_INTERVAL_MS);
    }
}

void SystemClock_Config(void)
{
    RCC_OscInitTypeDef RCC_OscInitStruct = {0};
    RCC_ClkInitTypeDef RCC_ClkInitStruct = {0};

    __HAL_RCC_PWR_CLK_ENABLE();
    __HAL_PWR_VOLTAGESCALING_CONFIG(PWR_REGULATOR_VOLTAGE_SCALE3);

    RCC_OscInitStruct.OscillatorType = RCC_OSCILLATORTYPE_HSI;
    RCC_OscInitStruct.HSIState = RCC_HSI_ON;
    RCC_OscInitStruct.HSICalibrationValue = RCC_HSICALIBRATION_DEFAULT;
    RCC_OscInitStruct.PLL.PLLState = RCC_PLL_ON;
    RCC_OscInitStruct.PLL.PLLSource = RCC_PLLSOURCE_HSI;
    RCC_OscInitStruct.PLL.PLLM = 16;
    RCC_OscInitStruct.PLL.PLLN = 128;
    RCC_OscInitStruct.PLL.PLLP = RCC_PLLP_DIV2;
    RCC_OscInitStruct.PLL.PLLQ = 2;
    RCC_OscInitStruct.PLL.PLLR = 2;
    if (HAL_RCC_OscConfig(&RCC_OscInitStruct) != HAL_OK)
    {
        Error_Handler();
    }

    RCC_ClkInitStruct.ClockType = RCC_CLOCKTYPE_HCLK | RCC_CLOCKTYPE_SYSCLK
                                 | RCC_CLOCKTYPE_PCLK1 | RCC_CLOCKTYPE_PCLK2;
    RCC_ClkInitStruct.SYSCLKSource = RCC_SYSCLKSOURCE_PLLCLK;
    RCC_ClkInitStruct.AHBCLKDivider = RCC_SYSCLK_DIV1;
    RCC_ClkInitStruct.APB1CLKDivider = RCC_HCLK_DIV2;
    RCC_ClkInitStruct.APB2CLKDivider = RCC_HCLK_DIV1;
    if (HAL_RCC_ClockConfig(&RCC_ClkInitStruct, FLASH_LATENCY_2) != HAL_OK)
    {
        Error_Handler();
    }

    HAL_RCC_MCOConfig(RCC_MCO1, RCC_MCO1SOURCE_HSI, RCC_MCODIV_1);
}

static void MX_SPI1_Init(void)
{
    hspi1.Instance = SPI1;
    hspi1.Init.Mode = SPI_MODE_MASTER;
    hspi1.Init.Direction = SPI_DIRECTION_2LINES;
    hspi1.Init.DataSize = SPI_DATASIZE_8BIT;
    hspi1.Init.CLKPolarity = SPI_POLARITY_LOW;
    hspi1.Init.CLKPhase = SPI_PHASE_1EDGE;
    hspi1.Init.NSS = SPI_NSS_SOFT;
    hspi1.Init.BaudRatePrescaler = SPI_BAUDRATEPRESCALER_64;
    hspi1.Init.FirstBit = SPI_FIRSTBIT_MSB;
    hspi1.Init.TIMode = SPI_TIMODE_DISABLE;
    hspi1.Init.CRCCalculation = SPI_CRCCALCULATION_DISABLE;
    hspi1.Init.CRCPolynomial = 10;
    if (HAL_SPI_Init(&hspi1) != HAL_OK)
    {
        Error_Handler();
    }
}

static void MX_USART3_UART_Init(void)
{
    huart3.Instance = USART3;
    huart3.Init.BaudRate = 115200;
    huart3.Init.WordLength = UART_WORDLENGTH_8B;
    huart3.Init.StopBits = UART_STOPBITS_1;
    huart3.Init.Parity = UART_PARITY_NONE;
    huart3.Init.Mode = UART_MODE_TX_RX;
    huart3.Init.HwFlowCtl = UART_HWCONTROL_NONE;
    huart3.Init.OverSampling = UART_OVERSAMPLING_16;
    if (HAL_UART_Init(&huart3) != HAL_OK)
    {
        Error_Handler();
    }
}

static void MX_GPIO_Init(void)
{
    GPIO_InitTypeDef GPIO_InitStruct = {0};

    __HAL_RCC_GPIOC_CLK_ENABLE();
    __HAL_RCC_GPIOH_CLK_ENABLE();
    __HAL_RCC_GPIOA_CLK_ENABLE();
    __HAL_RCC_GPIOB_CLK_ENABLE();

    HAL_GPIO_WritePin(RF_SWITCH_GPIO_Port, RF_SWITCH_Pin, GPIO_PIN_RESET);
    HAL_GPIO_WritePin(SPI1_NSS_GPIO_Port, SPI1_NSS_Pin, GPIO_PIN_SET);
    HAL_GPIO_WritePin(SDN_GPIO_Port, SDN_Pin, GPIO_PIN_RESET);

    GPIO_InitStruct.Pin = RF_SWITCH_Pin;
    GPIO_InitStruct.Mode = GPIO_MODE_OUTPUT_PP;
    GPIO_InitStruct.Pull = GPIO_NOPULL;
    GPIO_InitStruct.Speed = GPIO_SPEED_FREQ_LOW;
    HAL_GPIO_Init(RF_SWITCH_GPIO_Port, &GPIO_InitStruct);

    GPIO_InitStruct.Pin = SPI1_NSS_Pin;
    GPIO_InitStruct.Mode = GPIO_MODE_OUTPUT_PP;
    GPIO_InitStruct.Pull = GPIO_NOPULL;
    GPIO_InitStruct.Speed = GPIO_SPEED_FREQ_VERY_HIGH;
    HAL_GPIO_Init(SPI1_NSS_GPIO_Port, &GPIO_InitStruct);

    GPIO_InitStruct.Pin = SDN_Pin;
    GPIO_InitStruct.Mode = GPIO_MODE_OUTPUT_PP;
    GPIO_InitStruct.Pull = GPIO_NOPULL;
    GPIO_InitStruct.Speed = GPIO_SPEED_FREQ_LOW;
    HAL_GPIO_Init(SDN_GPIO_Port, &GPIO_InitStruct);

    GPIO_InitStruct.Pin = NIRQ_Pin;
    GPIO_InitStruct.Mode = GPIO_MODE_INPUT;
    GPIO_InitStruct.Pull = GPIO_NOPULL;
    HAL_GPIO_Init(NIRQ_GPIO_Port, &GPIO_InitStruct);

    GPIO_InitStruct.Pin = GPIO3_Pin | GPIO2_Pin | GPIO1_Pin | GPIO0_Pin;
    GPIO_InitStruct.Mode = GPIO_MODE_INPUT;
    GPIO_InitStruct.Pull = GPIO_NOPULL;
    HAL_GPIO_Init(GPIOC, &GPIO_InitStruct);

    GPIO_InitStruct.Pin = GPIO_PIN_8;
    GPIO_InitStruct.Mode = GPIO_MODE_AF_PP;
    GPIO_InitStruct.Pull = GPIO_NOPULL;
    GPIO_InitStruct.Speed = GPIO_SPEED_FREQ_LOW;
    GPIO_InitStruct.Alternate = GPIO_AF0_MCO;
    HAL_GPIO_Init(GPIOA, &GPIO_InitStruct);
}

void Error_Handler(void)
{
    __disable_irq();
    while (1)
    {
    }
}
